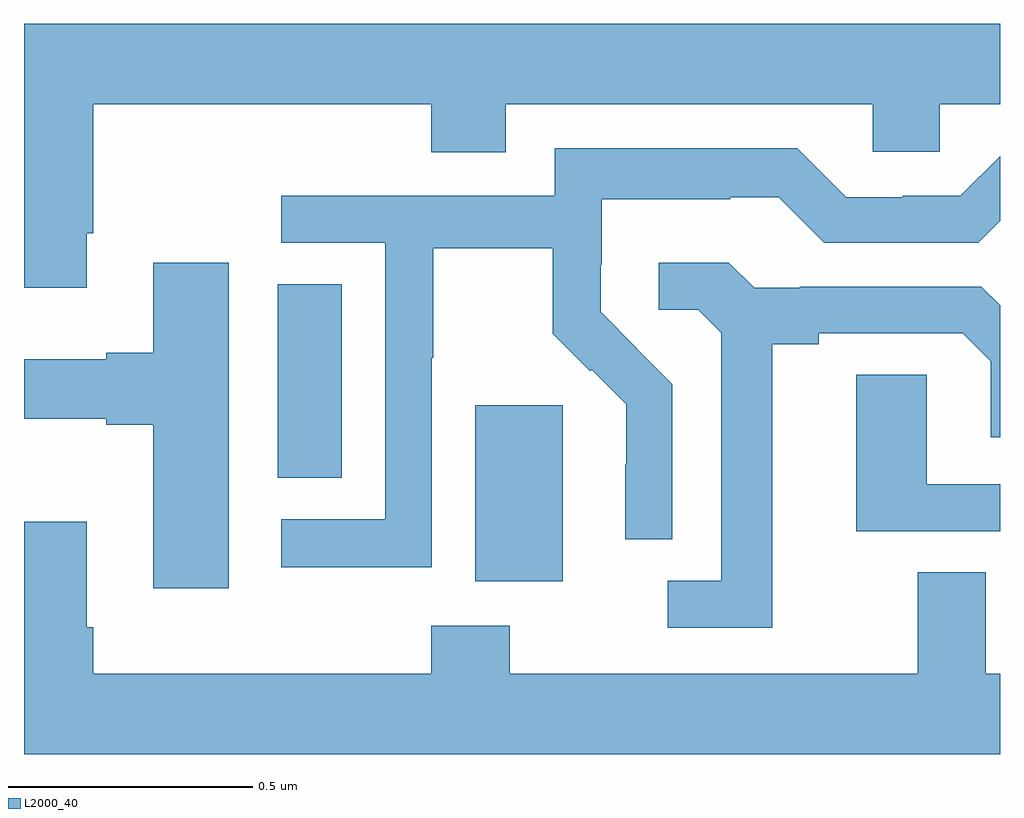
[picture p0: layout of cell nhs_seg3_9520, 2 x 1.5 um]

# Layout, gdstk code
import gdstk
lib = gdstk.Library(unit=1e-6, precision=1e-09)
def R(c, l, rs):  # rectangles x0, y0, x1, y1
    for r in rs: c.add(gdstk.rectangle(r[:2], r[2:], *l))
def P(c, l, *ps):  # polygons
    for p in ps: c.add(gdstk.Polygon(p, *l))
L2000_40 = (2000, 40)

nhs_seg3_9520 = lib.new_cell('nhs_seg3_9520')
R(nhs_seg3_9520, L2000_40, [(229.925,723.914,230.104,724.275), (229.52,724.126,229.651,724.523)])
P(nhs_seg3_9520, L2000_40, [(229.129,724.627),(229.142,724.627),(229.142,724.892),(229.835,724.892),(229.835,724.793),(229.987,724.793),(229.987,724.892),(230.739,724.892),(230.739,724.794),(230.877,724.794),(230.877,724.892),(231,724.892),(231,725.056),(229,725.056),(229,724.515),(229.129,724.515)],
  [(229.836,724.372),(229.839,724.372),(229.839,724.596),(230.083,724.596),(230.083,724.421),(230.16,724.344),(230.163,724.347),(230.234,724.277),(230.234,724.154),(230.232,724.154),(230.232,724),(230.328,724),(230.328,724.318),(230.255,724.391),(230.256,724.392),(230.182,724.466),(230.182,724.563),(230.184,724.563),(230.184,724.697),(230.447,724.697),(230.447,724.701),(230.547,724.701),(230.64,724.608),(230.955,724.608),(231,724.653),(231,724.785),(230.919,724.704),(230.801,724.704),(230.801,724.701),(230.685,724.701),(230.585,724.801),(230.088,724.801),(230.088,724.704),(229.527,724.704),(229.527,724.608),(229.74,724.608),(229.74,724.041),(229.527,724.041),(229.527,723.943),(229.836,723.943)],
  [(230.533,724.4),(230.629,724.4),(230.629,724.422),(230.924,724.422),(230.981,724.365),(230.981,724.209),(231,724.209),(231,724.48),(230.962,724.518),(230.59,724.518),(230.59,724.515),(230.496,724.515),(230.444,724.567),(230.301,724.567),(230.301,724.47),(230.382,724.47),(230.429,724.423),(230.429,723.915),(230.319,723.915),(230.319,723.819),(230.533,723.819)],
  [(229.42,724.567),(229.265,724.567),(229.265,724.382),(229.169,724.382),(229.169,724.369),(229,724.369),(229,724.247),(229.169,724.247),(229.169,724.235),(229.265,724.235),(229.265,723.9),(229.42,723.9)],
  [(231,724.113),(230.85,724.113),(230.85,724.337),(230.705,724.337),(230.705,724.017),(231,724.017)],
  [(231,723.724),(230.971,723.724),(230.971,723.932),(230.831,723.932),(230.831,723.724),(229.995,723.724),(229.995,723.823),(229.835,723.823),(229.835,723.724),(229.142,723.724),(229.142,723.82),(229.129,723.82),(229.129,724.036),(229,724.036),(229,723.56),(231,723.56)])

lib.write_gds('nhs_seg3_9520.gds')
